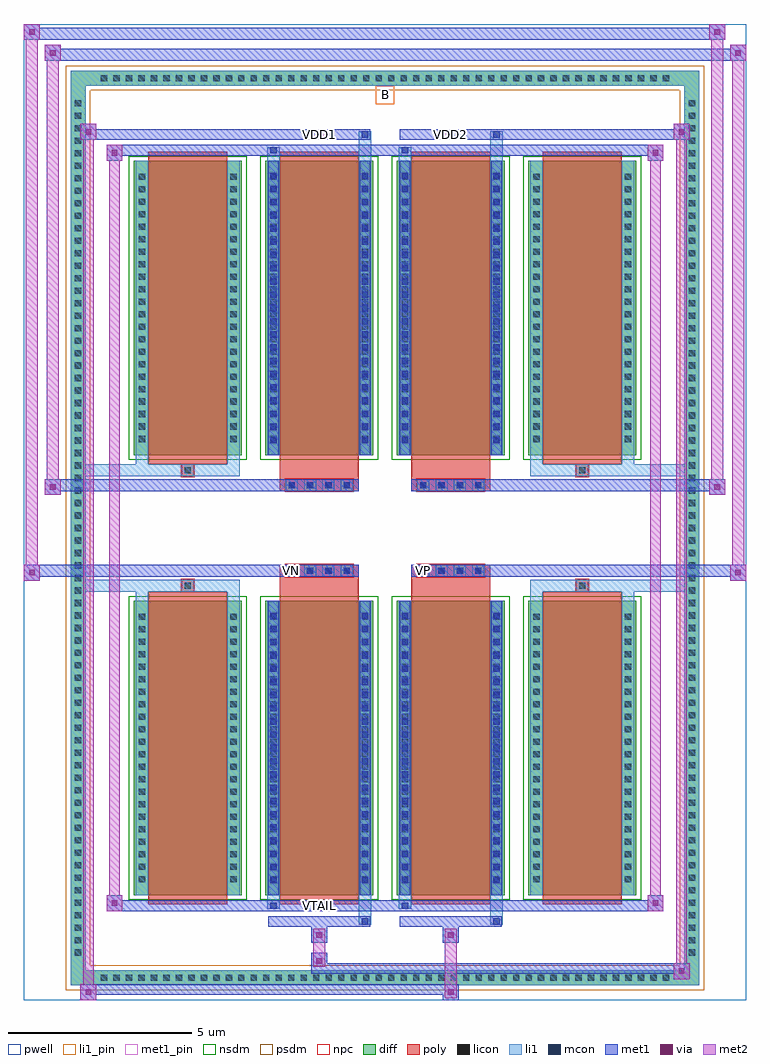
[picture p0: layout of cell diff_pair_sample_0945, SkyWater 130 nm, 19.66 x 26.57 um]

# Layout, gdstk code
import gdstk
lib = gdstk.Library(unit=1e-6, precision=5e-09)
def R(c, l, rs):  # rectangles x0, y0, x1, y1
    for r in rs: c.add(gdstk.rectangle(r[:2], r[2:], *l))
def A(c, l, x, y, w, h, nx, ny, dx, dy):  # array of equal rectangles
    R(c, l, [(x+i*dx, y+j*dy, x+i*dx+w, y+j*dy+h) for i in range(nx) for j in range(ny)])
def P(c, l, *ps):  # polygons
    for p in ps: c.add(gdstk.Polygon(p, *l))
pwell = (64, 44)
diff = (65, 20)
poly = (66, 20)
licon = (66, 44)
li1_pin = (67, 16)
li1 = (67, 20)
mcon = (67, 44)
met1_pin = (68, 16)
met1 = (68, 20)
via = (68, 44)
met2 = (69, 20)
nsdm = (93, 44)
psdm = (94, 20)
npc = (95, 20)

diff_pair_sample_0945 = lib.new_cell('diff_pair_sample_0945')
R(diff_pair_sample_0945, pwell, [(-9.83,-12.85,9.83,13.72), (-7.15,-11.04,-0.01,-0.8), (0.01,-11.04,7.15,-0.8), (-7.15,0.8,-0.01,11.04), (0.01,0.8,7.15,11.04)])
A(diff_pair_sample_0945, diff, -7.855, -12.45, 0.41, 0.41, 46, 2, 0.34, 24.49)
A(diff_pair_sample_0945, diff, -8.56, -11.765, 0.41, 0.41, 1, 69, 0, 0.34)
A(diff_pair_sample_0945, diff, 8.15, -11.765, 0.41, 0.41, 1, 69, 0, 0.34)
A(diff_pair_sample_0945, diff, -6.84, -9.995, 2.94, 8.01, 4, 2, 3.58, 11.98)
R(diff_pair_sample_0945, diff, [(-7.855,-12.45,7.855,-12.04), (-8.56,-11.765,-8.15,11.765), (8.15,-11.765,8.56,11.765), (-7.855,12.04,7.855,12.45)])
P(diff_pair_sample_0945, diff, [(8.56,12.45),(-8.56,12.45),(-8.56,-12.04),(-8.15,-12.04),(-8.15,12.04),(8.15,12.04),(8.15,-12.04),(-8.15,-12.04),(-8.56,-12.04),(-8.56,-12.45),(8.56,-12.45)])
A(diff_pair_sample_0945, poly, -6.45, -10.245, 2.16, 8.51, 4, 2, 3.58, 11.98)
A(diff_pair_sample_0945, poly, -2.705, -1.33, 0.33, 0.33, 4, 2, 0.5, 2.33)
A(diff_pair_sample_0945, poly, 0.875, -1.33, 0.33, 0.33, 4, 2, 0.5, 2.33)
R(diff_pair_sample_0945, poly, [(-5.535,-1.735,-5.205,-1.405), (-5.535,-1.735,-5.205,-1.405), (-2.87,-1.735,-0.71,-1.33), (0.71,-1.735,2.87,-1.33), (5.205,-1.735,5.535,-1.405), (5.205,-1.735,5.535,-1.405), (-2.87,-1.33,-0.71,-1), (0.71,-1.33,2.87,-1), (-2.87,1,-0.71,1.33), (0.71,1,2.87,1.33), (-2.87,1.33,-0.71,1.735), (0.71,1.33,2.87,1.735), (-5.535,1.405,-5.205,1.735), (-5.535,1.405,-5.205,1.735), (5.205,1.405,5.535,1.735), (5.205,1.405,5.535,1.735)])
A(diff_pair_sample_0945, licon, -7.735, -12.33, 0.17, 0.17, 46, 2, 0.34, 24.49)
A(diff_pair_sample_0945, licon, -8.44, -11.645, 0.17, 0.17, 1, 69, 0, 0.34)
A(diff_pair_sample_0945, licon, 8.27, -11.645, 0.17, 0.17, 1, 69, 0, 0.34)
A(diff_pair_sample_0945, licon, -6.7, -9.645, 0.17, 0.17, 1, 22, 0, 0.34)
A(diff_pair_sample_0945, licon, -4.21, -9.645, 0.17, 0.17, 1, 22, 0, 0.34)
A(diff_pair_sample_0945, licon, -3.12, -9.645, 0.17, 0.17, 1, 22, 0, 0.34)
A(diff_pair_sample_0945, licon, -0.63, -9.645, 0.17, 0.17, 1, 22, 0, 0.34)
A(diff_pair_sample_0945, licon, 0.46, -9.645, 0.17, 0.17, 1, 22, 0, 0.34)
A(diff_pair_sample_0945, licon, 2.95, -9.645, 0.17, 0.17, 1, 22, 0, 0.34)
A(diff_pair_sample_0945, licon, 4.04, -9.645, 0.17, 0.17, 1, 22, 0, 0.34)
A(diff_pair_sample_0945, licon, 6.53, -9.645, 0.17, 0.17, 1, 22, 0, 0.34)
A(diff_pair_sample_0945, licon, -2.625, -1.25, 0.17, 0.17, 4, 2, 0.5, 2.33)
A(diff_pair_sample_0945, licon, 0.955, -1.25, 0.17, 0.17, 4, 2, 0.5, 2.33)
A(diff_pair_sample_0945, licon, -6.7, 2.335, 0.17, 0.17, 1, 22, 0, 0.34)
A(diff_pair_sample_0945, licon, -4.21, 2.335, 0.17, 0.17, 1, 22, 0, 0.34)
A(diff_pair_sample_0945, licon, -3.12, 2.335, 0.17, 0.17, 1, 22, 0, 0.34)
A(diff_pair_sample_0945, licon, -0.63, 2.335, 0.17, 0.17, 1, 22, 0, 0.34)
A(diff_pair_sample_0945, licon, 0.46, 2.335, 0.17, 0.17, 1, 22, 0, 0.34)
A(diff_pair_sample_0945, licon, 2.95, 2.335, 0.17, 0.17, 1, 22, 0, 0.34)
A(diff_pair_sample_0945, licon, 4.04, 2.335, 0.17, 0.17, 1, 22, 0, 0.34)
A(diff_pair_sample_0945, licon, 6.53, 2.335, 0.17, 0.17, 1, 22, 0, 0.34)
R(diff_pair_sample_0945, licon, [(-5.455,-1.655,-5.285,-1.485), (5.285,-1.655,5.455,-1.485), (-5.455,1.485,-5.285,1.655), (5.285,1.485,5.455,1.655)])
R(diff_pair_sample_0945, li1_pin, [(-0.25,11.54,0.25,12.04)])
A(diff_pair_sample_0945, li1, -7.815, -12.41, 0.33, 0.33, 46, 2, 0.34, 24.49)
A(diff_pair_sample_0945, li1, -8.52, -11.725, 0.33, 0.33, 1, 69, 0, 0.34)
A(diff_pair_sample_0945, li1, 8.19, -11.725, 0.33, 0.33, 1, 69, 0, 0.34)
A(diff_pair_sample_0945, li1, -6.78, -9.725, 0.33, 0.33, 1, 22, 0, 0.34)
A(diff_pair_sample_0945, li1, -4.29, -9.725, 0.33, 0.33, 1, 22, 0, 0.34)
A(diff_pair_sample_0945, li1, -3.2, -9.725, 0.33, 0.33, 1, 22, 0, 0.34)
A(diff_pair_sample_0945, li1, -0.71, -9.725, 0.33, 0.33, 1, 22, 0, 0.34)
A(diff_pair_sample_0945, li1, 0.38, -9.725, 0.33, 0.33, 1, 22, 0, 0.34)
A(diff_pair_sample_0945, li1, 2.87, -9.725, 0.33, 0.33, 1, 22, 0, 0.34)
A(diff_pair_sample_0945, li1, 3.96, -9.725, 0.33, 0.33, 1, 22, 0, 0.34)
A(diff_pair_sample_0945, li1, 6.45, -9.725, 0.33, 0.33, 1, 22, 0, 0.34)
A(diff_pair_sample_0945, li1, -3.12, -9.675, 0.17, 0.17, 1, 21, 0, 0.36)
A(diff_pair_sample_0945, li1, -0.63, -9.675, 0.17, 0.17, 1, 21, 0, 0.36)
A(diff_pair_sample_0945, li1, 0.46, -9.675, 0.17, 0.17, 1, 21, 0, 0.36)
A(diff_pair_sample_0945, li1, 2.95, -9.675, 0.17, 0.17, 1, 21, 0, 0.36)
A(diff_pair_sample_0945, li1, -2.705, -1.33, 0.33, 0.33, 4, 2, 0.5, 2.33)
A(diff_pair_sample_0945, li1, 0.875, -1.33, 0.33, 0.33, 4, 2, 0.5, 2.33)
A(diff_pair_sample_0945, li1, -6.78, 2.255, 0.33, 0.33, 1, 22, 0, 0.34)
A(diff_pair_sample_0945, li1, -4.29, 2.255, 0.33, 0.33, 1, 22, 0, 0.34)
A(diff_pair_sample_0945, li1, -3.2, 2.255, 0.33, 0.33, 1, 22, 0, 0.34)
A(diff_pair_sample_0945, li1, -0.71, 2.255, 0.33, 0.33, 1, 22, 0, 0.34)
A(diff_pair_sample_0945, li1, 0.38, 2.255, 0.33, 0.33, 1, 22, 0, 0.34)
A(diff_pair_sample_0945, li1, 2.87, 2.255, 0.33, 0.33, 1, 22, 0, 0.34)
A(diff_pair_sample_0945, li1, 3.96, 2.255, 0.33, 0.33, 1, 22, 0, 0.34)
A(diff_pair_sample_0945, li1, 6.45, 2.255, 0.33, 0.33, 1, 22, 0, 0.34)
A(diff_pair_sample_0945, li1, -3.12, 2.305, 0.17, 0.17, 1, 21, 0, 0.36)
A(diff_pair_sample_0945, li1, -0.63, 2.305, 0.17, 0.17, 1, 21, 0, 0.36)
A(diff_pair_sample_0945, li1, 0.46, 2.305, 0.17, 0.17, 1, 21, 0, 0.36)
A(diff_pair_sample_0945, li1, 2.95, 2.305, 0.17, 0.17, 1, 21, 0, 0.36)
R(diff_pair_sample_0945, li1, [(-8.56,-12.45,-8.15,-12.04), (-8.56,-12.45,-8.15,-12.04), (-8.15,-12.45,8.15,-12.04), (8.15,-12.45,8.56,-12.04), (8.15,-12.45,8.56,-12.04), (-8.56,-12.04,-8.15,12.04), (8.15,-12.04,8.56,12.04), (-0.71,-10.8,-0.38,-9.995), (-0.63,-10.8,-0.46,-10.63), (2.87,-10.8,3.2,-9.995), (2.95,-10.8,3.12,-10.63), (-3.2,-10.37,-2.87,-9.995), (-3.12,-10.37,-2.95,-10.2), (0.38,-10.37,0.71,-9.995), (0.46,-10.37,0.63,-10.2), (-6.78,-9.995,-6.45,-1.985), (-4.29,-9.995,-3.96,-1.985), (-3.2,-9.995,-2.87,-1.985), (-0.71,-9.995,-0.38,-1.985), (0.38,-9.995,0.71,-1.985), (2.87,-9.995,3.2,-1.985), (3.96,-9.995,4.29,-1.985), (6.45,-9.995,6.78,-1.985), (-3.12,-9.675,-2.95,-2.305), (-0.63,-9.675,-0.46,-2.305), (0.46,-9.675,0.63,-2.305), (2.95,-9.675,3.12,-2.305), (-6.78,-1.985,-6.45,-1.405), (-4.29,-1.985,-3.96,-1.405), (3.96,-1.985,4.29,-1.405), (6.45,-1.985,6.78,-1.405), (-8.56,-1.735,-5.535,-1.405), (-6.78,-1.735,-5.535,-1.405), (-5.535,-1.735,-5.205,-1.405), (-5.205,-1.735,-3.96,-1.405), (3.96,-1.735,5.205,-1.405), (5.205,-1.735,5.535,-1.405), (5.205,-1.735,8.56,-1.405), (5.535,-1.735,6.78,-1.405), (-8.56,1.405,-5.535,1.735), (-6.78,1.405,-5.535,1.735), (-6.78,1.405,-6.45,1.985), (-5.535,1.405,-5.205,1.735), (-5.205,1.405,-3.96,1.735), (-4.29,1.405,-3.96,1.985), (3.96,1.405,5.205,1.735), (3.96,1.405,4.29,1.985), (5.205,1.405,5.535,1.735), (5.205,1.405,8.56,1.735), (5.535,1.405,6.78,1.735), (6.45,1.405,6.78,1.985), (-6.78,1.985,-6.45,9.995), (-4.29,1.985,-3.96,9.995), (-3.2,1.985,-2.87,9.995), (-0.71,1.985,-0.38,9.995), (0.38,1.985,0.71,9.995), (2.87,1.985,3.2,9.995), (3.96,1.985,4.29,9.995), (6.45,1.985,6.78,9.995), (-3.12,2.305,-2.95,9.675), (-0.63,2.305,-0.46,9.675), (0.46,2.305,0.63,9.675), (2.95,2.305,3.12,9.675), (-3.2,9.995,-2.87,10.37), (-0.71,9.995,-0.38,10.8), (0.38,9.995,0.71,10.37), (2.87,9.995,3.2,10.8), (-3.12,10.2,-2.95,10.37), (0.46,10.2,0.63,10.37), (-0.63,10.63,-0.46,10.8), (2.95,10.63,3.12,10.8), (-8.56,12.04,-8.15,12.45), (-8.56,12.04,-8.15,12.45), (-8.15,12.04,8.15,12.45), (8.15,12.04,8.56,12.45), (8.15,12.04,8.56,12.45)])
A(diff_pair_sample_0945, mcon, -3.12, -9.675, 0.17, 0.17, 1, 21, 0, 0.36)
A(diff_pair_sample_0945, mcon, -0.63, -9.675, 0.17, 0.17, 1, 21, 0, 0.36)
A(diff_pair_sample_0945, mcon, 0.46, -9.675, 0.17, 0.17, 1, 21, 0, 0.36)
A(diff_pair_sample_0945, mcon, 2.95, -9.675, 0.17, 0.17, 1, 21, 0, 0.36)
A(diff_pair_sample_0945, mcon, -2.625, -1.25, 0.17, 0.17, 4, 2, 0.5, 2.33)
A(diff_pair_sample_0945, mcon, 0.955, -1.25, 0.17, 0.17, 4, 2, 0.5, 2.33)
A(diff_pair_sample_0945, mcon, -3.12, 2.305, 0.17, 0.17, 1, 21, 0, 0.36)
A(diff_pair_sample_0945, mcon, -0.63, 2.305, 0.17, 0.17, 1, 21, 0, 0.36)
A(diff_pair_sample_0945, mcon, 0.46, 2.305, 0.17, 0.17, 1, 21, 0, 0.36)
A(diff_pair_sample_0945, mcon, 2.95, 2.305, 0.17, 0.17, 1, 21, 0, 0.36)
R(diff_pair_sample_0945, mcon, [(-0.63,-10.8,-0.46,-10.63), (2.95,-10.8,3.12,-10.63), (-3.12,-10.37,-2.95,-10.2), (0.46,-10.37,0.63,-10.2), (-3.12,10.2,-2.95,10.37), (0.46,10.2,0.63,10.37), (-0.63,10.63,-0.46,10.8), (2.95,10.63,3.12,10.8)])
R(diff_pair_sample_0945, met1_pin, [(-1.925,-10.41,-1.655,-10.14), (-2.675,-1.29,-2.405,-1.02), (0.905,-1.29,1.175,-1.02), (-1.925,10.59,-1.655,10.86), (1.655,10.59,1.925,10.86)])
A(diff_pair_sample_0945, met1, -3.18, -9.735, 0.29, 0.29, 1, 21, 0, 0.36)
A(diff_pair_sample_0945, met1, -0.69, -9.735, 0.29, 0.29, 1, 21, 0, 0.36)
A(diff_pair_sample_0945, met1, 0.4, -9.735, 0.29, 0.29, 1, 21, 0, 0.36)
A(diff_pair_sample_0945, met1, 2.89, -9.735, 0.29, 0.29, 1, 21, 0, 0.36)
A(diff_pair_sample_0945, met1, -2.685, -1.31, 0.29, 0.29, 4, 2, 0.5, 2.33)
A(diff_pair_sample_0945, met1, 0.895, -1.31, 0.29, 0.29, 4, 2, 0.5, 2.33)
A(diff_pair_sample_0945, met1, -3.18, 2.245, 0.29, 0.29, 1, 21, 0, 0.36)
A(diff_pair_sample_0945, met1, -0.69, 2.245, 0.29, 0.29, 1, 21, 0, 0.36)
A(diff_pair_sample_0945, met1, 0.4, 2.245, 0.29, 0.29, 1, 21, 0, 0.36)
A(diff_pair_sample_0945, met1, 2.89, 2.245, 0.29, 0.29, 1, 21, 0, 0.36)
R(diff_pair_sample_0945, met1, [(-8.29,-12.85,-7.86,-12.42), (1.575,-12.85,2.005,-12.42), (-8.29,-12.71,2.005,-12.42), (7.86,-12.28,8.29,-11.85), (-2.005,-12.14,8.29,-11.85), (-2.005,-12,-1.575,-11.57), (-2.005,-11.29,-1.575,-10.86), (1.575,-11.29,2.005,-10.86), (-3.18,-10.86,-0.4,-10.57), (-0.69,-10.86,-0.4,-10.57), (0.4,-10.86,3.18,-10.57), (2.89,-10.86,3.18,-10.57), (-7.58,-10.43,-7.15,-10), (-7.58,-10.43,-3.18,-10.14), (-3.18,-10.43,-2.89,-10.14), (-3.18,-10.43,-0.4,-10.14), (-0.4,-10.43,0.4,-10.14), (0.4,-10.43,0.69,-10.14), (0.4,-10.43,3.18,-10.14), (3.18,-10.43,7.58,-10.14), (7.15,-10.43,7.58,-10), (-3.18,-9.995,-2.89,-1.985), (-0.69,-9.995,-0.4,-1.985), (0.4,-9.995,0.69,-1.985), (2.89,-9.995,3.18,-1.985), (-9.83,-1.43,-9.4,-1), (9.4,-1.43,9.83,-1), (-9.83,-1.33,-0.71,-1), (-2.87,-1.33,-0.71,-1), (0.71,-1.33,2.87,-1), (0.71,-1.33,9.83,-1), (-9.26,0.9,-8.83,1.33), (8.83,0.9,9.26,1.33), (-9.26,1,-2.87,1.33), (-2.87,1,-0.71,1.33), (0.71,1,2.87,1.33), (2.87,1,9.26,1.33), (-3.18,1.985,-2.89,9.995), (-0.69,1.985,-0.4,9.995), (0.4,1.985,0.69,9.995), (2.89,1.985,3.18,9.995), (-7.58,10,-7.15,10.43), (7.15,10,7.58,10.43), (-7.58,10.14,-3.18,10.43), (-3.18,10.14,-2.89,10.43), (-3.18,10.14,-0.4,10.43), (-0.4,10.14,0.4,10.43), (0.4,10.14,0.69,10.43), (0.4,10.14,3.18,10.43), (3.18,10.14,7.58,10.43), (-8.29,10.57,-7.86,11), (-8.29,10.57,-3.18,10.86), (-3.18,10.57,-0.4,10.86), (-0.69,10.57,-0.4,10.86), (0.4,10.57,3.18,10.86), (2.89,10.57,3.18,10.86), (3.18,10.57,8.29,10.86), (7.86,10.57,8.29,11), (-9.26,12.72,-8.83,13.15), (-9.26,12.72,-7.15,13.05), (-7.15,12.72,7.15,13.05), (7.15,12.72,9.83,13.05), (9.4,12.72,9.83,13.15), (-9.83,13.29,-9.4,13.72), (-9.83,13.29,-7.15,13.62), (-7.15,13.29,7.15,13.62), (7.15,13.29,9.26,13.62), (8.83,13.29,9.26,13.72)])
R(diff_pair_sample_0945, via, [(-8.15,-12.71,-8,-12.56), (1.715,-12.71,1.865,-12.56), (8,-12.14,8.15,-11.99), (-1.865,-11.86,-1.715,-11.71), (-1.865,-11.15,-1.715,-11), (1.715,-11.15,1.865,-11), (-7.44,-10.29,-7.29,-10.14), (7.29,-10.29,7.44,-10.14), (-9.69,-1.29,-9.54,-1.14), (9.54,-1.29,9.69,-1.14), (-9.12,1.04,-8.97,1.19), (8.97,1.04,9.12,1.19), (-7.44,10.14,-7.29,10.29), (7.29,10.14,7.44,10.29), (-8.15,10.71,-8,10.86), (8,10.71,8.15,10.86), (-9.12,12.86,-8.97,13.01), (9.54,12.86,9.69,13.01), (-9.69,13.43,-9.54,13.58), (8.97,13.43,9.12,13.58)])
R(diff_pair_sample_0945, met2, [(-8.29,-12.85,-7.86,-12.42), (-8.22,-12.85,-7.93,11), (-7.93,-12.85,-7.86,-12.42), (-8.24,-12.8,-7.91,-12.47), (1.625,-12.8,1.955,-12.47), (1.625,-12.47,1.955,-11.24), (7.86,-12.28,8.29,-11.85), (7.93,-12.28,8.22,11), (8.22,-12.28,8.29,-11.85), (7.91,-12.23,8.24,-11.9), (-1.955,-11.95,-1.625,-11.62), (-1.955,-11.62,-1.625,-11.24), (-1.955,-11.24,-1.625,-10.91), (1.625,-11.24,1.955,-10.91), (-7.58,-10.43,-7.15,-10), (-7.51,-10.43,-7.22,10.43), (-7.22,-10.43,-7.15,-10), (7.15,-10.43,7.58,-10), (7.22,-10.43,7.51,10.43), (7.51,-10.43,7.58,-10), (-7.53,-10.38,-7.2,-10.05), (7.2,-10.38,7.53,-10.05), (-9.83,-1.43,-9.4,-1), (-9.78,-1.43,-9.45,13.72), (-9.45,-1.43,-9.4,-1), (9.4,-1.43,9.83,-1), (9.45,-1.43,9.78,13.15), (9.78,-1.43,9.83,-1), (-9.78,-1.38,-9.45,-1.05), (9.45,-1.38,9.78,-1.05), (-9.26,0.9,-8.83,1.33), (-9.21,0.9,-8.88,13.15), (-8.88,0.9,-8.83,1.33), (8.83,0.9,9.26,1.33), (8.88,0.9,9.21,13.72), (9.21,0.9,9.26,1.33), (-9.21,0.95,-8.88,1.28), (8.88,0.95,9.21,1.28), (-7.58,10,-7.15,10.43), (-7.22,10,-7.15,10.43), (7.15,10,7.58,10.43), (7.51,10,7.58,10.43), (-7.53,10.05,-7.2,10.38), (7.2,10.05,7.53,10.38), (-8.29,10.57,-7.86,11), (-7.93,10.57,-7.86,11), (7.86,10.57,8.29,11), (8.22,10.57,8.29,11), (-8.24,10.62,-7.91,10.95), (7.91,10.62,8.24,10.95), (-9.26,12.72,-8.83,13.15), (-8.88,12.72,-8.83,13.15), (9.4,12.72,9.83,13.15), (9.78,12.72,9.83,13.15), (-9.21,12.77,-8.88,13.1), (9.45,12.77,9.78,13.1), (-9.83,13.29,-9.4,13.72), (-9.45,13.29,-9.4,13.72), (8.83,13.29,9.26,13.72), (9.21,13.29,9.26,13.72), (-9.78,13.34,-9.45,13.67), (8.88,13.34,9.21,13.67)])
A(diff_pair_sample_0945, nsdm, -6.97, -10.125, 3.2, 8.27, 4, 2, 3.58, 11.98)
P(diff_pair_sample_0945, psdm, [(8.69,12.58),(-8.69,12.58),(-8.69,-11.91),(-8.02,-11.91),(-8.02,11.91),(8.02,11.91),(8.02,-11.91),(-8.02,-11.91),(-8.69,-11.91),(-8.69,-12.58),(8.69,-12.58)])
A(diff_pair_sample_0945, npc, -2.725, -1.35, 0.37, 0.37, 4, 2, 0.5, 2.33)
A(diff_pair_sample_0945, npc, 0.855, -1.35, 0.37, 0.37, 4, 2, 0.5, 2.33)
R(diff_pair_sample_0945, npc, [(-5.555,-1.755,-5.185,-1.385), (5.185,-1.755,5.555,-1.385), (-2.725,-1.35,-1.855,-0.98), (-2.725,-1.35,-1.855,-0.98), (-2.225,-1.35,-1.355,-0.98), (-2.225,-1.35,-1.355,-0.98), (-1.725,-1.35,-0.855,-0.98), (-1.725,-1.35,-0.855,-0.98), (0.855,-1.35,1.725,-0.98), (0.855,-1.35,1.725,-0.98), (1.355,-1.35,2.225,-0.98), (1.355,-1.35,2.225,-0.98), (1.855,-1.35,2.725,-0.98), (1.855,-1.35,2.725,-0.98), (-2.725,0.98,-1.855,1.35), (-2.725,0.98,-1.855,1.35), (-2.225,0.98,-1.355,1.35), (-2.225,0.98,-1.355,1.35), (-1.725,0.98,-0.855,1.35), (-1.725,0.98,-0.855,1.35), (0.855,0.98,1.725,1.35), (0.855,0.98,1.725,1.35), (1.355,0.98,2.225,1.35), (1.355,0.98,2.225,1.35), (1.855,0.98,2.725,1.35), (1.855,0.98,2.725,1.35), (-5.555,1.385,-5.185,1.755), (5.185,1.385,5.555,1.755)])
diff_pair_sample_0945.add(gdstk.Label('VTAIL', (-1.79,-10.275), layer=68, texttype=5))
diff_pair_sample_0945.add(gdstk.Label('VN', (-2.54,-1.155), layer=68, texttype=5))
diff_pair_sample_0945.add(gdstk.Label('VP', (1.04,-1.155), layer=68, texttype=5))
diff_pair_sample_0945.add(gdstk.Label('B', (0,11.79), layer=67, texttype=5))
diff_pair_sample_0945.add(gdstk.Label('VDD2', (1.79,10.725), layer=68, texttype=5))
diff_pair_sample_0945.add(gdstk.Label('VDD1', (-1.79,10.725), layer=68, texttype=5))

lib.write_gds('diff_pair_sample_0945.gds')
